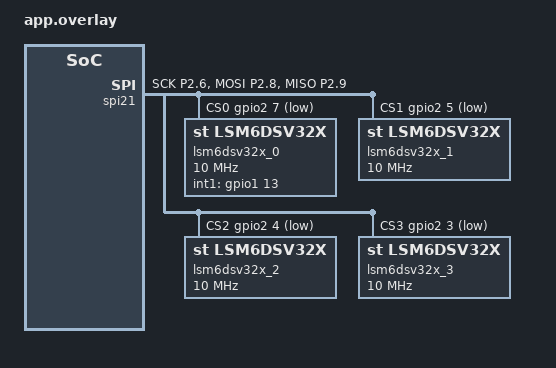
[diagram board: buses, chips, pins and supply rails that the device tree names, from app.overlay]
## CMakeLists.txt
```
cmake_minimum_required(VERSION 3.20.0)
find_package(Zephyr REQUIRED HINTS $ENV{ZEPHYR_BASE})

project(LSM6DSV32X_imu_test)

target_sources(app PRIVATE src/main.c)
```

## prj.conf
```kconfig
# Основные драйверы
CONFIG_SPI=y
CONFIG_SENSOR=y
CONFIG_GPIO=y

# Поддержка плавающей точки при печати (опционально, код выше использует целочисленное деление)
CONFIG_CBPRINTF_FP_SUPPORT=y

# Увеличение стека системной очереди (Критично для 4x IMU!)
CONFIG_SYSTEM_WORKQUEUE_STACK_SIZE=8096

# Оптимизация SPI (включает асинхронный API, часто помогает на nRF)
CONFIG_SPI_ASYNC=y

# Включение драйвера для семейства LSM6DSV (поддерживает LSM6DSV32X)
CONFIG_LSM6DSV16X=y
CONFIG_LSM6DSV16X_TRIGGER_OWN_THREAD=y

# Логирование (для отладки инициализации сенсора)
CONFIG_LOG=y
# CONFIG_SENSOR_LOG_LEVEL_DBG=y

# Thread Analyzer
CONFIG_THREAD_ANALYZER=y
CONFIG_THREAD_RUNTIME_STATS=y
CONFIG_THREAD_NAME=y
CONFIG_THREAD_ANALYZER_USE_LOG=y
CONFIG_THREAD_ANALYZER_AUTO=y
CONFIG_THREAD_ANALYZER_AUTO_INTERVAL=10
```

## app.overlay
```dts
#include <zephyr/dt-bindings/sensor/lsm6dsv16x.h>

&pinctrl {
	spim21_default: spim21_default {
		group1 {
			psels = <NRF_PSEL(SPIM_SCK, 2, 6)>,
					<NRF_PSEL(SPIM_MOSI, 2, 8)>,		
					<NRF_PSEL(SPIM_MISO, 2, 9)>;
		};
	};

	spim21_sleep: spim21_sleep {
		group1 {
			psels = <NRF_PSEL(SPIM_SCK, 2, 6)>,
					<NRF_PSEL(SPIM_MOSI, 2, 8)>,		
					<NRF_PSEL(SPIM_MISO, 2, 9)>;
			low-power-enable;
		};
	};
};

&spi21 {
	status = "okay";
	pinctrl-0 = <&spim21_default>;
	pinctrl-1 = <&spim21_sleep>;
	pinctrl-names = "default", "sleep";

	cs-gpios = <&gpio2 7 GPIO_ACTIVE_LOW>,
		   <&gpio2 5 GPIO_ACTIVE_LOW>,
		   <&gpio2 4 GPIO_ACTIVE_LOW>,
		   <&gpio2 3 GPIO_ACTIVE_LOW>;

	lsm6dsv32x_0: lsm6dsv32x@0 {
		compatible = "st,lsm6dsv32x";
		reg = <0>;
		status = "okay";
		spi-max-frequency = <10000000>;
		int1-gpios = <&gpio1 13 GPIO_ACTIVE_HIGH>;
		drdy-pin = <1>;

		accel-range = <LSM6DSV16X_DT_FS_8G>;
		gyro-range = <LSM6DSV16X_DT_FS_4000DPS>;
		accel-odr = <LSM6DSV16X_DT_ODR_AT_3840Hz>;
		gyro-odr = <LSM6DSV16X_DT_ODR_AT_3840Hz>;
	};

	lsm6dsv32x_1: lsm6dsv32x@1 {
		compatible = "st,lsm6dsv32x";
		reg = <1>;
		status = "okay";
		spi-max-frequency = <10000000>;

		accel-range = <LSM6DSV16X_DT_FS_8G>;
		gyro-range = <LSM6DSV16X_DT_FS_4000DPS>;
		accel-odr = <LSM6DSV16X_DT_ODR_AT_3840Hz>;
		gyro-odr = <LSM6DSV16X_DT_ODR_AT_3840Hz>;
	};

	lsm6dsv32x_2: lsm6dsv32x@2 {
		compatible = "st,lsm6dsv32x";
		reg = <2>;
		status = "okay";
		spi-max-frequency = <10000000>;

		accel-range = <LSM6DSV16X_DT_FS_8G>;
		gyro-range = <LSM6DSV16X_DT_FS_4000DPS>;
		accel-odr = <LSM6DSV16X_DT_ODR_AT_3840Hz>;
		gyro-odr = <LSM6DSV16X_DT_ODR_AT_3840Hz>;
	};

	lsm6dsv32x_3: lsm6dsv32x@3 {
		compatible = "st,lsm6dsv32x";
		reg = <3>;
		status = "okay";
		spi-max-frequency = <10000000>;

		accel-range = <LSM6DSV16X_DT_FS_8G>;
		gyro-range = <LSM6DSV16X_DT_FS_4000DPS>;
		accel-odr = <LSM6DSV16X_DT_ODR_AT_3840Hz>;
		gyro-odr = <LSM6DSV16X_DT_ODR_AT_3840Hz>;
	};
};

/ {
	aliases {
		imu0 = &lsm6dsv32x_0;
		imu1 = &lsm6dsv32x_1;
		imu2 = &lsm6dsv32x_2;
		imu3 = &lsm6dsv32x_3;
	};
};
```

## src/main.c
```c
#include <zephyr/kernel.h>
#include <zephyr/device.h>
#include <zephyr/drivers/sensor.h>
#include <stdio.h>
#include <stdlib.h>

#define IMU_COUNT 4
#define MASTER_IMU_INDEX 0

#define MONITOR_STACK_SIZE 2048

#define MONITOR_PRIORITY   5

struct imu_context {
    const struct device *dev;
    struct sensor_value acc[3];
    struct sensor_value gyr[3];
};

static struct imu_context imu_ctxs[IMU_COUNT];

static const struct device *const imu_devs[IMU_COUNT] = {
    DEVICE_DT_GET(DT_ALIAS(imu0)),
    DEVICE_DT_GET(DT_ALIAS(imu1)),
    DEVICE_DT_GET(DT_ALIAS(imu2)),
    DEVICE_DT_GET(DT_ALIAS(imu3)),
};

static volatile uint32_t interrupt_count = 0;

// 1. Обработчик прерывания: ТОЛЬКО читает данные (чтобы сбросить пин) и кладет их в очередь
static void trigger_handler(const struct device *dev,
                          const struct sensor_trigger *trigger)
{
    interrupt_count++;

    for (int i = 0; i < IMU_COUNT; i++) {
        struct imu_context *ctx = &imu_ctxs[i];
        if (!ctx->dev || !device_is_ready(ctx->dev)) continue;

        // Чтение обязательно должно быть здесь, чтобы железо сняло флаг DRDY
        if (sensor_sample_fetch(ctx->dev) == 0) {
            sensor_channel_get(ctx->dev, SENSOR_CHAN_ACCEL_XYZ, ctx->acc);
            sensor_channel_get(ctx->dev, SENSOR_CHAN_GYRO_XYZ, ctx->gyr);
        }
    }
}

void init_sensors(void)
{
    struct sensor_trigger trig;

    trig.type = SENSOR_TRIG_DATA_READY;
    trig.chan = SENSOR_CHAN_ACCEL_XYZ;

    printf("Initializing %d sensors...\n", IMU_COUNT);

    for (int i = 0; i < IMU_COUNT; i++) {
        imu_ctxs[i].dev = imu_devs[i];
        
        if (!device_is_ready(imu_ctxs[i].dev)) {
            printf("Error: Device imu%d not ready\n", i);
            continue;
        }

        printf("IMU%d initialized from Device Tree configs.\n", i);
    }

    const struct device *master_dev = imu_ctxs[MASTER_IMU_INDEX].dev;

    if (device_is_ready(master_dev)) {
        printf("All sensors checked. Enabling trigger on MASTER (IMU%d)...\n", MASTER_IMU_INDEX);
        
        if (sensor_trigger_set(master_dev, &trig, trigger_handler) != 0) {
            printf("Error: Could not set trigger for MASTER imu%d\n", MASTER_IMU_INDEX);
        } else {
            printf("Trigger enabled. Data stream started.\n");
        }
    } else {
        printf("Error: Master device is not ready, cannot set trigger.\n");
    }
}

void monitor_thread_entry(void *p1, void *p2, void *p3)
{
    int64_t last_time = k_uptime_get();

    while (1) {
        k_sleep(K_SECONDS(2));

        int64_t now = k_uptime_get();
        int64_t delta_ms = now - last_time;
        last_time = now;

        if (delta_ms <= 0) delta_ms = 1;

        printf("\n=== IMU Status (Trigger: IMU%d) | Interval: %lld ms ===\n", MASTER_IMU_INDEX, delta_ms);
        
        for (int i = 0; i < IMU_COUNT; i++) {
            struct imu_context *ctx = &imu_ctxs[i];
            
            if (!device_is_ready(ctx->dev)) {
                printf("[IMU%d] Not ready\n", i);
                continue;
            }

            printf("[IMU%d] A: %3d.%02d %3d.%02d %3d.%02d | G: %3d.%02d %3d.%02d %3d.%02d\n",
                   i, 
                   ctx->acc[0].val1, abs(ctx->acc[0].val2 / 10000),
                   ctx->acc[1].val1, abs(ctx->acc[1].val2 / 10000),
                   ctx->acc[2].val1, abs(ctx->acc[2].val2 / 10000),
                   ctx->gyr[0].val1, abs(ctx->gyr[0].val2 / 10000),
                   ctx->gyr[1].val1, abs(ctx->gyr[1].val2 / 10000),
                   ctx->gyr[2].val1, abs(ctx->gyr[2].val2 / 10000));
        }
        printf("=======================================\n");
    }
}

K_THREAD_DEFINE(monitor_tid, MONITOR_STACK_SIZE, monitor_thread_entry, NULL, NULL, NULL,
                MONITOR_PRIORITY, 0, 0);
                
int main(void)
{
    init_sensors();

    while (1) {
        k_sleep(K_MSEC(1000));
        printf("--- Interrupt Frequency: %u Hz ---\n", interrupt_count);
        interrupt_count = 0;
    }
    return 0;
}
```
